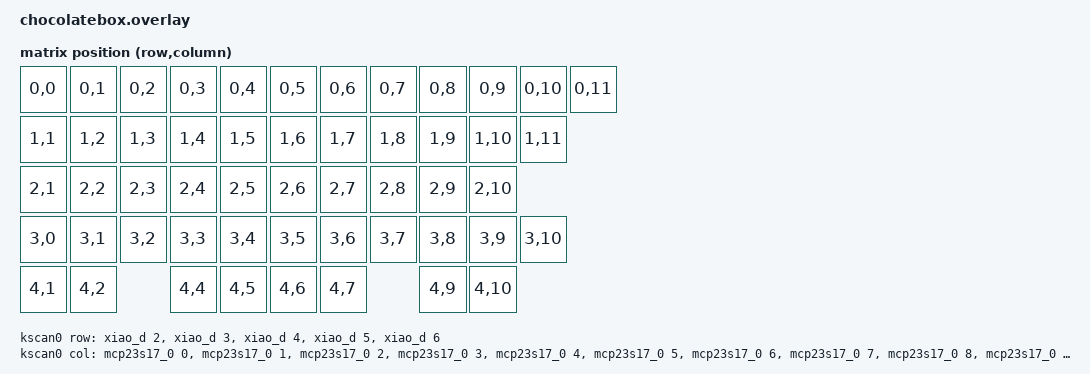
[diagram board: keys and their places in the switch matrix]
#include <dt-bindings/zmk/matrix_transform.h>
#include "./chocolatebox-layouts.dtsi"
#include <zephyr/dt-bindings/input/input-event-codes.h>
#include <input/processors.dtsi>
#include <dt-bindings/zmk/input_transform.h>

/*
 * これが、お兄様とライスが、いーっぱい頑張った集大成！
 * MCP23S17ちゃんも、トラックボールちゃんも、みんな仲良くしてね…♪
 */

// &gpio0を割り込みコントローラーとして定義
&gpio0 {
    interrupt-controller;
    #interrupt-cells = <2>;
};

// シリアル通信は無効化
&xiao_serial {
    status = "disabled";
};

// 共有SPIバスと、各デバイスの定義
&spi0 {
    compatible = "nordic,nrf-spim";
    status = "okay";
    pinctrl-0 = <&spi0_default>;
    pinctrl-1 = <&spi0_sleep>;
    pinctrl-names = "default", "sleep";

    // MCP23S17の定義
    mcp23s17_0: mcp23sxx@0 {
        compatible = "microchip,mcp23sxx";
        status = "okay";
        reg = <0>;
        spi-max-frequency = <4000000>;
        cs-gpios = <&xiao_d 7 GPIO_ACTIVE_LOW>; // D7をCSに設定
        gpio-controller;
        #gpio-cells = <2>;
        ngpios = <16>;
        int-gpios = <&xiao_d 1 GPIO_ACTIVE_LOW>;
    };

    // トラックボールの定義
    trackball: trackball@1 {
        compatible = "pixart,pmw3610";
        status = "okay";
        reg = <1>;
        spi-max-frequency = <2000000>;
        cs-gpios = <&xiao_d 8 GPIO_ACTIVE_LOW>; // D8をCSに設定
        irq-gpios = <&xiao_d 10 (GPIO_ACTIVE_LOW | GPIO_PULL_UP)>; // D10をIRQに設定
        cpi = <600>;
        evt-type = <INPUT_EV_REL>;
        x-input-code = <INPUT_REL_X>;
        y-input-code = <INPUT_REL_Y>;
        force-awake;
    };
};

// 共有SPIバスで使用するピンを定義
&pinctrl {
    spi0_default: spi0_default {
        group1 {
            // SCK: NFC2, MOSI: NFC1, MISO: D0
            psels = <NRF_PSEL(SPIM_SCK, 0, 10)>,
                    <NRF_PSEL(SPIM_MOSI, 0, 9)>,
                    <NRF_PSEL(SPIM_MISO, 0, 2)>;
        };
    };
    spi0_sleep: spi0_sleep {
        group1 {
            psels = <NRF_PSEL(SPIM_SCK, 0, 10)>,
                    <NRF_PSEL(SPIM_MOSI, 0, 9)>,
                    <NRF_PSEL(SPIM_MISO, 0, 2)>;
            low-power-enable;
        };
    };
};

// キーボード本体の定義
/{
    chosen {
        zmk,kscan = &kscan0;
        zmk,physical-layout = &chocolatebox_physical_layout;
        transform = <&default_transform>;
        zmk,pointing_device = &trackball; // ポインティングデバイスをトラックボールに指定
    };
    
    default_transform: keymap_transform_0 {
        compatible = "zmk,matrix-transform";
        rows = <5>;
        columns = <12>;
        map = <
            RC(0,0) RC(0,1) RC(0,2) RC(0,3) RC(0,4) RC(0,5) RC(0,6) RC(0,7) RC(0,8) RC(0,9) RC(0,10) RC(0,11)
            RC(1,1) RC(1,2) RC(1,3) RC(1,4) RC(1,5) RC(1,6) RC(1,7) RC(1,8) RC(1,9) RC(1,10) RC(1,11)
            RC(2,1) RC(2,2) RC(2,3) RC(2,4) RC(2,5) RC(2,6) RC(2,7) RC(2,8) RC(2,9) RC(2,10) 
            RC(3,0) RC(3,1) RC(3,2) RC(3,3) RC(3,4) RC(3,5) RC(3,6) RC(3,7) RC(3,8) RC(3,9) RC(3,10)
            RC(4,1) RC(4,2)         RC(4,4) RC(4,5) RC(4,6) RC(4,7)         RC(4,9) RC(4,10)
        >;
    };

    kscan0: kscan0 {
        compatible = "zmk,kscan-gpio-matrix";
        diode-direction = "col2row";
       
        col-gpios =
            <&mcp23s17_0 0 GPIO_ACTIVE_HIGH>, <&mcp23s17_0 1 GPIO_ACTIVE_HIGH>,
            <&mcp23s17_0 2 GPIO_ACTIVE_HIGH>, <&mcp23s17_0 3 GPIO_ACTIVE_HIGH>,
            <&mcp23s17_0 4 GPIO_ACTIVE_HIGH>, <&mcp23s17_0 5 GPIO_ACTIVE_HIGH>,
            <&mcp23s17_0 6 GPIO_ACTIVE_HIGH>, <&mcp23s17_0 7 GPIO_ACTIVE_HIGH>,
            <&mcp23s17_0 8 GPIO_ACTIVE_HIGH>, <&mcp23s17_0 9 GPIO_ACTIVE_HIGH>,
            <&mcp23s17_0 10 GPIO_ACTIVE_HIGH>, <&mcp23s17_0 11 GPIO_ACTIVE_HIGH>;

        row-gpios =
            <&xiao_d 2 (GPIO_ACTIVE_HIGH | GPIO_PULL_DOWN)>,
            <&xiao_d 3 (GPIO_ACTIVE_HIGH | GPIO_PULL_DOWN)>,
            <&xiao_d 4 (GPIO_ACTIVE_HIGH | GPIO_PULL_DOWN)>,
            <&xiao_d 5 (GPIO_ACTIVE_HIGH | GPIO_PULL_DOWN)>,
            <&xiao_d 6 (GPIO_ACTIVE_HIGH | GPIO_PULL_DOWN)>;
    };
    
    /omit-if-no-ref/ zip_temp_layer: zip_temp_layer {
        compatible = "zmk,input-processor-temp-layer";
        #input-processor-cells = <2>;
        require-prior-idle-ms = <200>;
    };

    trackball_listener {
        compatible = "zmk,input-listener";
        device = <&trackball>;
        input-processors = <&zip_xy_scaler 2 3 &zip_temp_layer 2 1000>;

        scroll_layer_override {
            layers = <3>;
            input-processors = <&zip_xy_to_scroll_mapper &zip_scroll_transform (INPUT_TRANSFORM_Y_INVERT) &zip_scroll_scaler 1 20>;
        };
    };
};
